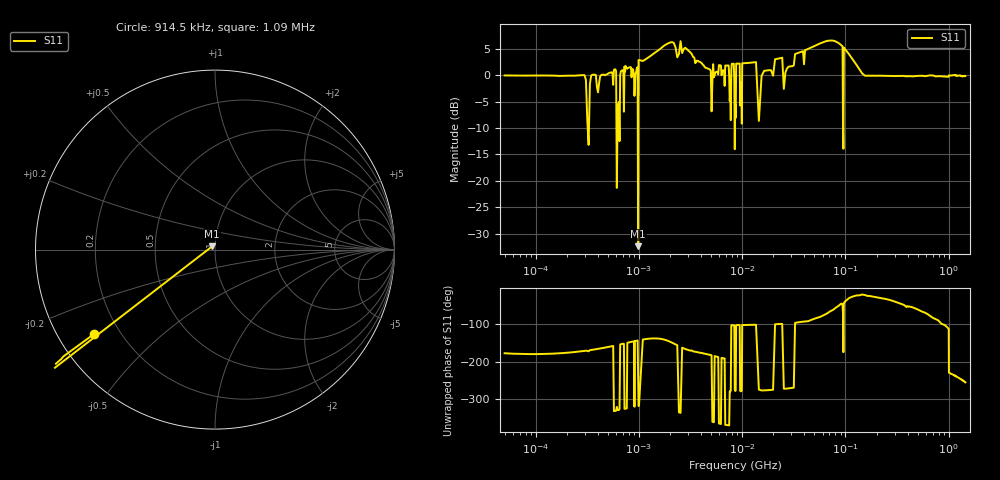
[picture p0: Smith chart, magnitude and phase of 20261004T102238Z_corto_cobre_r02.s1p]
! piloto_corto / corto_cobre / r02
# HZ S RI R 50
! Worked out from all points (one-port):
!   501 points, 50 kHz to 1.45 GHz, reference 50 ohm
!   lowest |S11| = -32.4 dB at 981 kHz (marker M1), VSWR 1.05, Z = 48.3 + j1.67 ohm
!   |S11| at or under -10 dB: 319 kHz to 328.1 kHz (9.145 kHz wide, 2.83 % of centre); 605.6 kHz to 619.7 kHz (14.07 kHz wide, 2.3 % of centre); 645.3 kHz to 650.4 kHz (5.042 kHz wide, 0.778 % of centre) (the widest 3 of 6)
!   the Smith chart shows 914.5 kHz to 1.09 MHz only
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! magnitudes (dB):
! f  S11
! 50 kHz  0.0
! 183 kHz  -0.1
! 325.5 kHz  -13.2
! 582 kHz  1.1
! 629.5 kHz  -5.7
! 658 kHz  0.1
! 952.5 kHz  1.3
! 962 kHz  1.5
! 981 kHz  -32.4
! 1.09 MHz  2.7
! 2.44 MHz  4.1
! 5.23 MHz  2.1
! 7.21 MHz  1.8
! 7.66 MHz  -3.2
! 8.11 MHz  2.2
! 8.56 MHz  -5.5
! 8.92 MHz  2.2
! 9.73 MHz  -1.3
! 11.8 MHz  2.4
! 31.6 MHz  1.9
! 81.1 MHz  6.4
! 91.9 MHz  5.6
! 93.7 MHz  5.5
! 96.4 MHz  5.3
! 98.2 MHz  5.1
! 118 MHz  3.0
! 406 MHz  -0.2
! 1.45 GHz  -0.1
